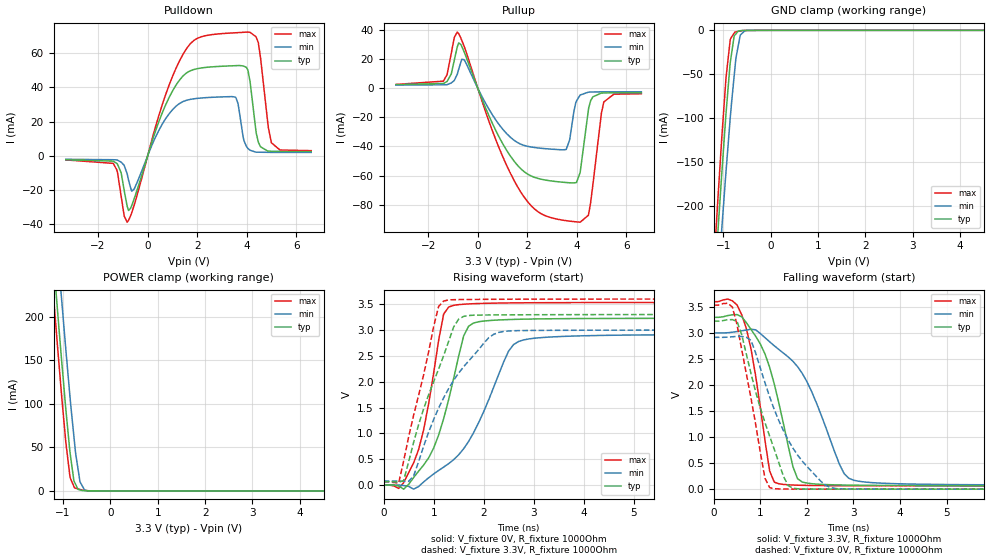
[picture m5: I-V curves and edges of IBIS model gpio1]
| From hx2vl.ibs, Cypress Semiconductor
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[Model]   gpio1
Model_type   I/O
Polarity   Non-Inverting
Enable   Active-Low
Vinl = 0.8
Vinh = 2.0
Vmeas = 1.65
Vref = 1.65
Cref = 15pF
Rref = 50
|   typ   min   max
C_comp   1.2pF   1.1pF   1.3pF
[Voltage Range]   3.3   3   3.6
[Temperature Range]   25   100   -20
[Pullup Reference]   3.3   3   3.6
[Pulldown Reference]   0   0   0
[Power Clamp Reference]   3.3   3   3.6
[GND Clamp Reference]   0   0   0
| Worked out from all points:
|   slope of the pulldown table from 0 to 0.495 V, typ, clamps not added: 22.9 ohm
|   slope of the pullup table from 0 to 0.495 V, typ, clamps not added: 24 ohm
|   GND clamp passes 1 mA (typ) near -0.69 V on its own axis
|   POWER clamp passes 1 mA (typ) near -0.63 V on its own axis
|   falling waveform, V_fixture 3.3V, R_fixture 1000Ohm: 20-80 % time 558ps typ, 881ps min, 380ps max; typ from 3.3 V to 0.066 V
|   rising waveform, V_fixture 0V, R_fixture 1000Ohm: 20-80 % time 560ps typ, 882ps min, 400ps max; typ from 0 V to 3.23 V
|   rising waveform, V_fixture 3.3V, R_fixture 1000Ohm: 20-80 % time 684ps typ, 944ps min, 499ps max; typ from 0.066 V to 3.3 V
|   falling waveform, V_fixture 0V, R_fixture 1000Ohm: 20-80 % time 643ps typ, 865ps min, 431ps max; typ from 3.23 V to 0 V
[Pulldown]
|   Voltage   I(typ)   I(min)   I(max)
-3.3V     -2.243mA   -1.973mA   -2.324mA
-1.385V   -3.051mA   -2.219mA   -4.355mA
-1.066V   -9.909mA   -3.647mA   -23.62mA
-825mV    -29.39mA   -10.42mA   -38.7mA
-543mV    -25.09mA   -19.4mA    -28.81mA
590.7mV   25.15mA    18.57mA    29.91mA
1.56V     48.37mA    32.44mA    62.44mA
3.543V    52.71mA    34.29mA    71.92mA
3.984V    51.71mA    5.576mA    72.32mA
4.465V    8.151mA    2.179mA    66.19mA
4.994V    2.711mA    2.057mA    7.673mA
6.6V      2.547mA    2.025mA    3.073mA
[GND Clamp]
|   Voltage   I(typ)   I(min)   I(max)
-3.3V     -2.159A    -2.038A    -2.25A
-1.162V   -269.8mA   -324.6mA   -234.9mA
-1.109V   -226mA     -284.1mA   -188.3mA
-1.028V   -161.1mA   -223.9mA   -120.2mA
-942mV    -94.87mA   -161.1mA   -54.23mA
-852mV    -36.71mA   -99.39mA   -10.42mA
-772.2mV  -7.356mA   -53.38mA   -3.362mA
-754.8mV  -5.424mA   -43.71mA   -2.133mA
-732mV    -3.979mA   -31.54mA   -1.8mA
-642mV    -470.7uA   -5.665mA   -711.7uA
-543mV    -124.9uA   -404.1uA   -239.6uA
6.6V      0A         0A         0A
[Pullup]
|   Voltage   I(typ)   I(min)   I(max)
-3.3V     2.419mA    2.113mA    2.536mA
-1.385V   3.172mA    2.266mA    4.782mA
-1.066V   9.749mA    3.579mA    24.06mA
-825mV    28.29mA    9.511mA    38.43mA
-543mV    24.68mA    19.44mA    28.43mA
729.3mV   -29.11mA   -21.87mA   -35.4mA
1.747V    -55.43mA   -38.51mA   -71.56mA
3.567V    -64.74mA   -42.08mA   -90.9mA
4.127V    -58.06mA   -4.841mA   -91.95mA
4.555V    -8.587mA   -2.662mA   -78.4mA
5.084V    -3.338mA   -2.536mA   -9.527mA
6.6V      -3.164mA   -2.522mA   -3.871mA
[POWER Clamp]
|   Voltage   I(typ)   I(min)   I(max)
-3.3V     1.761A     1.814A     1.731A
-1.27V    313.2mA    383.2mA    272.2mA
-1.162V   238.3mA    308.8mA    197.4mA
-1.111V   204.3mA    274.7mA    163.2mA
-1.036V   154.2mA    224.4mA    113.7mA
-942mV    94.93mA    163.6mA    56.7mA
-852mV    44.25mA    107.9mA    15.88mA
-768.9mV  11.36mA    62.18mA    5.044mA
-679.8mV  1.706mA    24.16mA    2.133mA
-639mV    1.112mA    10.22mA    1.588mA
-465mV    104.9uA    135.6uA    217.4uA
6.6V      0A         0A         0A
[Ramp]
R_load = 1000
|   typ   min   max
dV/dt_r   1.93583/5.59778e-10   1.74842/8.82336e-10   2.11897/4.00454e-10
dV/dt_f   1.93958/5.58369e-10   1.75217/8.8141e-10   2.12144/3.79514e-10
[Falling Waveform]
V_fixture = 3.3V
V_fixture_min = 3V
V_fixture_max = 3.6V
R_fixture = 1000Ohm
C_fixture = 0F
|   Time   V(typ)   V(min)   V(max)
0s        3.299V     2.999V     3.599V
400ps     3.347V     3.013V     3.615V
700ps     3.195V     3.053V     3.083V
900ps     2.935V     3.058V     2.173V
1.2ns     2.34V      2.829V     350.4mV
1.3ns     2.017V     2.752V     134.6mV
1.8ns     200.1mV    2.352V     76.07mV
2.7ns     80.95mV    478mV      66.3mV
3ns       76.51mV    172.7mV    65.19mV
9ns       66.49mV    79.18mV    62.93mV
[Rising Waveform]
V_fixture = 0V
V_fixture_min = 0V
V_fixture_max = 0V
R_fixture = 1000Ohm
C_fixture = 0F
|   Time   V(typ)   V(min)   V(max)
0s        0V         0V         0V
300ps     -16.23mV   958.7uV    -64.41mV
700ps     269.9mV    -26.68mV   690.2mV
1.2ns     1.285V     348mV      3.308V
1.3ns     1.654V     415mV      3.444V
1.6ns     2.885V     702.9mV    3.499V
1.7ns     3.075V     845.7mV    3.505V
2.5ns     3.202V     2.594V     3.524V
2.7ns     3.208V     2.778V     3.526V
9ns       3.226V     2.914V     3.532V
[Rising Waveform]
V_fixture = 3.3V
V_fixture_min = 3V
V_fixture_max = 3.6V
R_fixture = 1000Ohm
C_fixture = 0F
|   Time   V(typ)   V(min)   V(max)
0s        66.44mV    78.48mV    62.92mV
300ps     54.56mV    79.11mV    37.83mV
400ps     87.59mV    71.76mV    464.1mV
600ps     829.3mV    178mV      1.354V
1.1ns     2.247V     1.49V      3.457V
1.2ns     2.505V     1.688V     3.561V
1.5ns     3.209V     2.167V     3.588V
2.1ns     3.291V     2.849V     3.594V
2.4ns     3.293V     2.972V     3.595V
9ns       3.299V     2.999V     3.599V
[Falling Waveform]
|Gnd
V_fixture = 0V
V_fixture_min = 0V
V_fixture_max = 0V
R_fixture = 1000Ohm
C_fixture = 0F
|   Time   V(typ)   V(min)   V(max)
0s        3.226V     2.915V     3.532V
400ps     3.254V     2.925V     3.495V
500ps     3.218V     2.932V     3.154V
600ps     2.966V     2.933V     2.68V
800ps     2.218V     2.856V     1.745V
1.1ns     1.277V     2.041V     208.3mV
1.2ns     1.018V     1.773V     28.71mV
1.6ns     67.86mV    942.2mV    2.25mV
2.5ns     1.47mV     33.8mV     927.9uV
9ns       7.611uV    54.47uV    1.493uV
